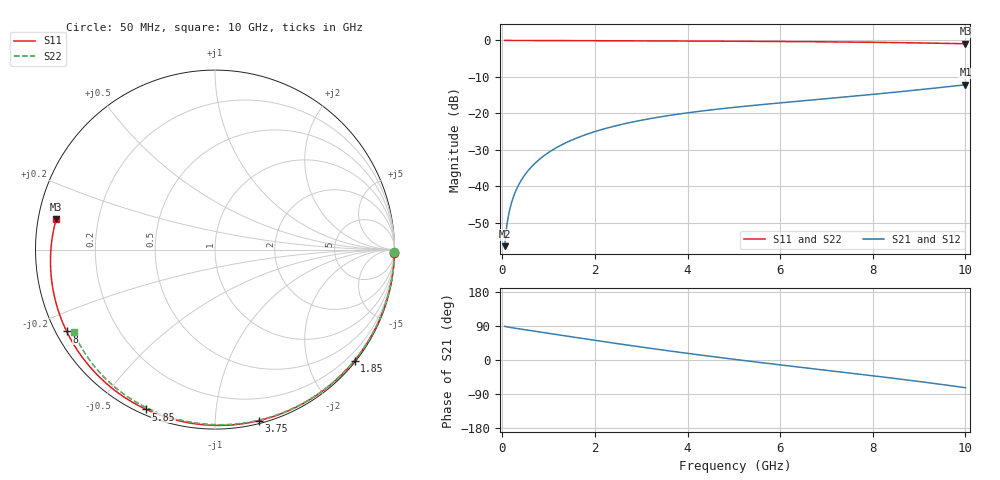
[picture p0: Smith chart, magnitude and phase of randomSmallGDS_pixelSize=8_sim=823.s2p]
! freq	dB(S11)	phase(S11)	dB(S12)	phase(S12)
!  dB(S21)	phase(S21)	dB(S22)	phase(S22)
!S-par simulation data
#  GHz  S  DB  R 50
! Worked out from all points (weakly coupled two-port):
!   200 points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, 50 MHz to 10 GHz, reference 50 ohm
!   highest |S21| = -12.15 dB at 10 GHz (marker M1); lowest = -56.4 dB at 50 MHz (marker M2)
!   lowest |S11| = -0.9 dB at 10 GHz (marker M3), VSWR 19.24, Z = 2.62 + j4.69 ohm
!   |S11| at or under -10 dB: nowhere
!   |S22| runs from -0.8 to 0.0 dB; largest |S21 - S12| = 0
!   S11 on the Smith chart (normalised r, x): 50 MHz: open; 1.85 GHz: 0.03, -2.86; 3.75 GHz: 0.02, -1.29; 5.85 GHz: 0.02, -0.66; 8 GHz: 0.03, -0.26; 10 GHz: 0.05, +0.09
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0.05  -0.00 -1.1  -56.39 88.7  -56.39 88.7  -0.00 -0.9
0.1  -0.00 -2.1  -50.40 87.4  -50.40 87.4  -0.00 -1.8
0.15  -0.00 -3.2  -46.92 86.3  -46.92 86.3  -0.00 -2.6
0.2  -0.00 -4.3  -44.46 85.3  -44.46 85.3  -0.00 -3.5
0.35  -0.01 -7.4  -39.67 82.5  -39.67 82.5  -0.01 -6.2
0.5  -0.01 -10.6  -36.62 79.7  -36.62 79.7  -0.01 -8.8
0.7  -0.02 -14.8  -33.74 76.0  -33.74 76.0  -0.02 -12.3
1  -0.03 -21.1  -30.70 70.4  -30.70 70.4  -0.02 -17.4
1.35  -0.04 -28.3  -28.18 63.9  -28.18 63.9  -0.04 -23.4
1.75  -0.06 -36.5  -26.05 56.5  -26.05 56.5  -0.05 -30.2
1.85  -0.06 -38.5  -25.60 54.6  -25.60 54.6  -0.05 -31.9
2.65  -0.09 -54.4  -22.80 40.3  -22.80 40.3  -0.08 -45.2
3.4  -0.12 -68.9  -20.97 27.4  -20.97 27.4  -0.11 -57.3
3.75  -0.14 -75.5  -20.29 21.6  -20.29 21.6  -0.12 -62.8
4.4  -0.17 -87.5  -19.20 11.1  -19.20 11.1  -0.15 -72.7
5.05  -0.21 -99.2  -18.28 1.1  -18.28 1.1  -0.19 -82.4
5.85  -0.27 -113.3  -17.29 -10.7  -17.29 -10.7  -0.24 -93.9
6.7  -0.34 -128.1  -16.31 -23.0  -16.31 -23.0  -0.30 -105.7
8  -0.50 -151.1  -14.78 -41.6  -14.78 -41.6  -0.44 -123.2
8.35  -0.56 -157.6  -14.35 -46.7  -14.35 -46.7  -0.48 -127.8
9.2  -0.71 -173.9  -13.25 -59.8  -13.25 -59.8  -0.62 -139.0
10  -0.90 169.3  -12.15 -73.2  -12.15 -73.2  -0.80 -149.6
